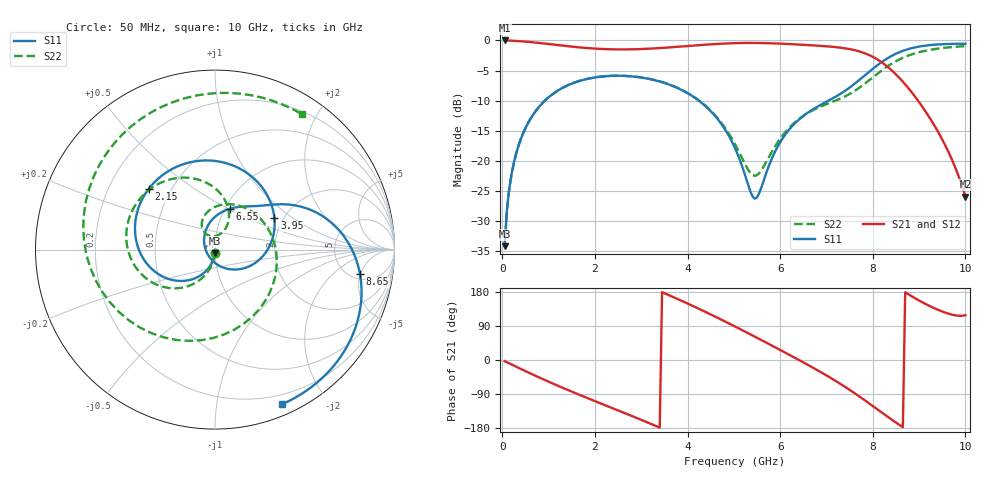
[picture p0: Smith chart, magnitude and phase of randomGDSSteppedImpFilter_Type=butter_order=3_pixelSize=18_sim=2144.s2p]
! freq	dB(S11)	phase(S11)	dB(S12)	phase(S12)
!  dB(S21)	phase(S21)	dB(S22)	phase(S22)
!S-par simulation data
#  GHz  S  DB  R 50
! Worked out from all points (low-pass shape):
!   200 points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, 50 MHz to 10 GHz, reference 50 ohm
!   highest |S21| = 0.00 dB at 50 MHz (marker M1); lowest = -25.9 dB at 10 GHz (marker M2)
!   |S21| within 3 dB of the highest: start of sweep to 8.066 GHz
!   lowest |S11| = -34.2 dB at 50 MHz (marker M3), VSWR 1.04, Z = 49.9 - j1.94 ohm
!   |S11| at or under -10 dB: start of sweep to 921.8 MHz; 4.243 GHz to 7.046 GHz (2.803 GHz wide, 49.7 % of centre)
!   |S22| runs from -34.2 to -0.9 dB; largest |S21 - S12| = 0
!   S11 on the Smith chart (normalised r, x): 50 MHz: 1.00, -0.04; 2.15 GHz: 0.38, +0.34; 3.95 GHz: 1.80, +0.73; 6.55 GHz: 1.06, +0.51; 8.65 GHz: 5.89, -4.93; 10 GHz: 0.11, -1.52
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0.05  -34.19 -93.3  -0.00 -3.0  -0.00 -3.0  -34.18 -92.6
0.2  -22.23 -103.6  -0.04 -11.9  -0.04 -11.9  -22.22 -100.8
0.5  -14.58 -123.3  -0.20 -29.3  -0.20 -29.3  -14.57 -116.3
1.1  -8.85 -161.0  -0.69 -62.6  -0.69 -62.6  -8.84 -145.5
1.75  -6.55 160.6  -1.22 -96.1  -1.22 -96.1  -6.54 -173.9
2.15  -6.00 137.6  -1.42 -115.8  -1.42 -115.8  -5.99 169.7
2.8  -5.98 99.8  -1.48 -147.8  -1.48 -147.8  -5.96 143.9
3.4  -6.83 63.4  -1.27 -178.4  -1.27 -178.4  -6.81 119.8
3.95  -8.54 27.8  -0.96 151.9  -0.96 151.9  -8.51 97.3
5.05  -18.33 -60.0  -0.45 86.9  -0.45 86.9  -17.60 63.5
5.45  -26.30 -149.3  -0.42 61.8  -0.42 61.8  -22.50 94.3
6.05  -16.31 100.9  -0.55 23.3  -0.55 23.3  -15.82 117.1
6.55  -12.26 69.5  -0.75 -9.6  -0.75 -9.6  -12.28 87.0
6.7  -11.49 62.5  -0.82 -19.7  -0.82 -19.7  -11.62 74.7
7.2  -9.34 45.5  -1.11 -55.3  -1.11 -55.3  -9.99 22.4
7.6  -7.25 35.6  -1.60 -86.9  -1.60 -86.9  -8.44 -32.0
8  -4.71 22.1  -2.72 -121.4  -2.72 -121.4  -6.14 -91.5
8.35  -2.81 5.8  -4.57 -152.3  -4.57 -152.3  -4.14 -140.6
8.65  -1.73 -9.7  -6.86 -177.3  -6.86 -177.3  -2.88 -178.1
8.95  -1.09 -24.5  -9.72 160.4  -9.72 160.4  -2.06 148.9
9.35  -0.70 -42.3  -14.39 135.6  -14.39 135.6  -1.42 110.5
10  -0.55 -66.4  -25.94 118.4  -25.94 118.4  -0.95 57.1
